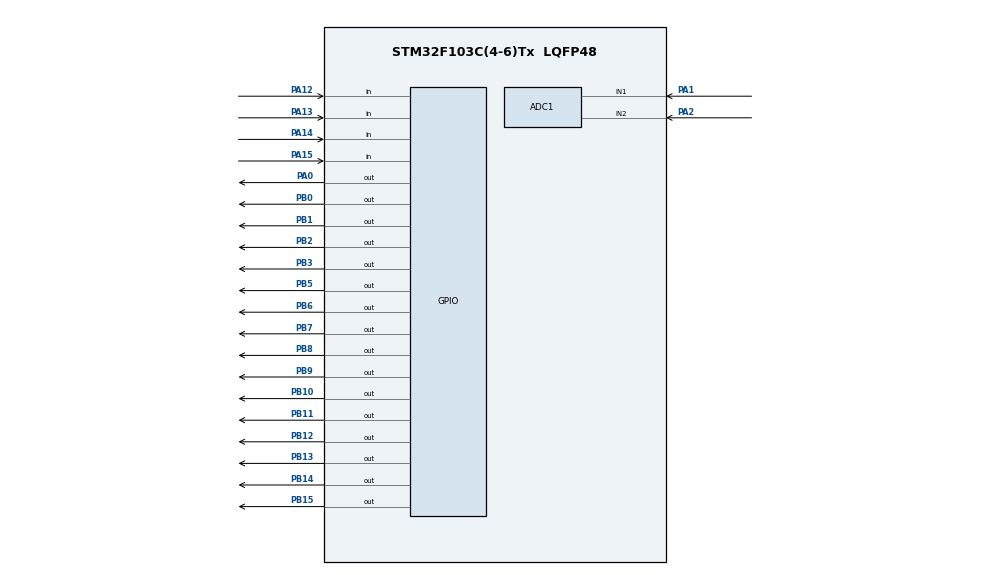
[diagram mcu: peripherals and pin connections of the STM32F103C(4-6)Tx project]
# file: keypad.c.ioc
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ADC1.Channel-0\#ChannelRegularConversion=ADC_CHANNEL_1
ADC1.Channel-1\#ChannelRegularConversion=ADC_CHANNEL_2
ADC1.ContinuousConvMode=ENABLE
ADC1.NbrOfConversion=2
ADC1.NbrOfConversionFlag=1
ADC1.Rank-0\#ChannelRegularConversion=1
ADC1.Rank-1\#ChannelRegularConversion=2
ADC1.SamplingTime-0\#ChannelRegularConversion=ADC_SAMPLETIME_1CYCLE_5
ADC1.SamplingTime-1\#ChannelRegularConversion=ADC_SAMPLETIME_1CYCLE_5
ADC1.master=1
Mcu.Family=STM32F1
Mcu.Name=STM32F103C(4-6)Tx
Mcu.Package=LQFP48
NVIC.PriorityGroup=NVIC_PRIORITYGROUP_4
PA0-WKUP.Signal=GPIO_Output
PA1.Signal=ADCx_IN1
PA12.GPIO_PuPd=GPIO_NOPULL
PA12.Signal=GPIO_Input
PA13.GPIO_PuPd=GPIO_NOPULL
PA13.Signal=GPIO_Input
PA14.GPIO_PuPd=GPIO_NOPULL
PA14.Signal=GPIO_Input
PA15.GPIO_PuPd=GPIO_NOPULL
PA15.Signal=GPIO_Input
PA2.Signal=ADCx_IN2
PB0.Signal=GPIO_Output
PB1.Signal=GPIO_Output
PB10.Signal=GPIO_Output
PB11.Signal=GPIO_Output
PB12.Signal=GPIO_Output
PB13.Signal=GPIO_Output
PB14.Signal=GPIO_Output
PB15.Signal=GPIO_Output
PB2.Signal=GPIO_Output
PB3.Signal=GPIO_Output
PB5.Signal=GPIO_Output
PB6.Signal=GPIO_Output
PB7.Signal=GPIO_Output
PB8.Signal=GPIO_Output
PB9.Signal=GPIO_Output
ProjectManager.HeapSize=0x200
ProjectManager.StackSize=0x400
ProjectManager.TargetToolchain=STM32CubeIDE
RCC.APB1Freq_Value=8000000
RCC.APB2Freq_Value=8000000
SH.ADCx_IN1.0=ADC1_IN1,IN1
SH.ADCx_IN2.0=ADC1_IN2,IN2
VP_SYS_VS_ND.Mode=No_Debug
board=custom

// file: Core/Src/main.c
/* USER CODE BEGIN Header */
/**
  ******************************************************************************
  * @file           : main.c
  * @brief          : Main program body
  ******************************************************************************
  * @attention
  *
  * Copyright (c) 2022 STMicroelectronics.
  * All rights reserved.
  *
  * This software is licensed under terms that can be found in the LICENSE file
  * in the root directory of this software component.
  * If no LICENSE file comes with this software, it is provided AS-IS.
  *
  ******************************************************************************
  */
/* USER CODE END Header */
#include "main.h"

/* USER CODE BEGIN Includes */
#include "LCD.h"
#include "keypad.h"
#include "pressao.h"
/* USER CODE END Includes */

ADC_HandleTypeDef hadc1;

/* USER CODE BEGIN PV */
void ADC_Select_CH1(void);
void ADC_Select_CH2(void);
float getTemperatura();
float getADC1_IN1();
/* USER CODE END PV */

void SystemClock_Config(void);
static void MX_GPIO_Init(void);
static void MX_ADC1_Init(void);

int main(void)
{

  /* MCU Configuration--------------------------------------------------------*/

  /* Reset of all peripherals, Initializes the Flash interface and the Systick. */
  HAL_Init();

  /* USER CODE BEGIN Init */
  char* key;
  float temp=0;
  float press;
  float adc;
  float p;
  float h0;
  float h = 2;
  float d;
  /* USER CODE END Init */

  /* Configure the system clock */
  SystemClock_Config();

  /* Initialize all configured peripherals */
  MX_GPIO_Init();
  MX_ADC1_Init();
  /* USER CODE BEGIN 2 */
  LCD_Init();
  HAL_Delay(50);
  LCD_Clear();
  /* USER CODE END 2 */

  /* Infinite loop */
  while (1)
  {

    /* USER CODE BEGIN 3 */
	  key = readKeypad();
	  LCD_SendTextPos(key, 0, 0);
	  temp = getTemperatura();
	  LCD_NumFloat(temp, 1, 0);
	  adc = getADC1_IN1();
	  press = getPressao(adc);
	  d = getDensidade(temp);
	  h0 = getAltura(press, d);
	  p = getCapacidade(h, h0);
	  LCD_NumFloat(press, 2, 0);

  }

  /* USER CODE END 3 */
}

void SystemClock_Config(void)
{
  RCC_OscInitTypeDef RCC_OscInitStruct = {0};
  RCC_ClkInitTypeDef RCC_ClkInitStruct = {0};
  RCC_PeriphCLKInitTypeDef PeriphClkInit = {0};

  /** Initializes the RCC Oscillators according to the specified parameters
  * in the RCC_OscInitTypeDef structure.
  */
  RCC_OscInitStruct.OscillatorType = RCC_OSCILLATORTYPE_HSI;
  RCC_OscInitStruct.HSIState = RCC_HSI_ON;
  RCC_OscInitStruct.HSICalibrationValue = RCC_HSICALIBRATION_DEFAULT;
  RCC_OscInitStruct.PLL.PLLState = RCC_PLL_NONE;
  if (HAL_RCC_OscConfig(&RCC_OscInitStruct) != HAL_OK)
  {
    Error_Handler();
  }
  /** Initializes the CPU, AHB and APB buses clocks
  */
  RCC_ClkInitStruct.ClockType = RCC_CLOCKTYPE_HCLK|RCC_CLOCKTYPE_SYSCLK
                              |RCC_CLOCKTYPE_PCLK1|RCC_CLOCKTYPE_PCLK2;
  RCC_ClkInitStruct.SYSCLKSource = RCC_SYSCLKSOURCE_HSI;
  RCC_ClkInitStruct.AHBCLKDivider = RCC_SYSCLK_DIV1;
  RCC_ClkInitStruct.APB1CLKDivider = RCC_HCLK_DIV1;
  RCC_ClkInitStruct.APB2CLKDivider = RCC_HCLK_DIV1;

  if (HAL_RCC_ClockConfig(&RCC_ClkInitStruct, FLASH_LATENCY_0) != HAL_OK)
  {
    Error_Handler();
  }
  PeriphClkInit.PeriphClockSelection = RCC_PERIPHCLK_ADC;
  PeriphClkInit.AdcClockSelection = RCC_ADCPCLK2_DIV2;
  if (HAL_RCCEx_PeriphCLKConfig(&PeriphClkInit) != HAL_OK)
  {
    Error_Handler();
  }
}

static void MX_ADC1_Init(void)
{

  /** Common config
  */
  hadc1.Instance = ADC1;
  hadc1.Init.ScanConvMode = ADC_SCAN_ENABLE;
  hadc1.Init.ContinuousConvMode = ENABLE;
  hadc1.Init.DiscontinuousConvMode = DISABLE;
  hadc1.Init.ExternalTrigConv = ADC_SOFTWARE_START;
  hadc1.Init.DataAlign = ADC_DATAALIGN_RIGHT;
  hadc1.Init.NbrOfConversion = 2;
  if (HAL_ADC_Init(&hadc1) != HAL_OK)
  {
    Error_Handler();
  }
  /** Configure Regular Channel
  */

  /*sConfig.Channel = ADC_CHANNEL_1;
  sConfig.Rank = ADC_REGULAR_RANK_1;
  sConfig.SamplingTime = ADC_SAMPLETIME_1CYCLE_5;
  if (HAL_ADC_ConfigChannel(&hadc1, &sConfig) != HAL_OK)
  {
    Error_Handler();
  }*/
  /** Configure Regular Channel
  */
  /*sConfig.Channel = ADC_CHANNEL_2;
  sConfig.Rank = ADC_REGULAR_RANK_2;
  if (HAL_ADC_ConfigChannel(&hadc1, &sConfig) != HAL_OK)
  {
    Error_Handler();
  }*/

}

static void MX_GPIO_Init(void)
{
  GPIO_InitTypeDef GPIO_InitStruct = {0};

  /* GPIO Ports Clock Enable */
  __HAL_RCC_GPIOA_CLK_ENABLE();
  __HAL_RCC_GPIOB_CLK_ENABLE();

  /*Configure GPIO pin Output Level */
  HAL_GPIO_WritePin(GPIOA, GPIO_PIN_0, GPIO_PIN_RESET);

  /*Configure GPIO pin Output Level */
  HAL_GPIO_WritePin(GPIOB, GPIO_PIN_0|GPIO_PIN_1|GPIO_PIN_2|GPIO_PIN_10
                          |GPIO_PIN_11|GPIO_PIN_12|GPIO_PIN_13|GPIO_PIN_14
                          |GPIO_PIN_15|GPIO_PIN_3|GPIO_PIN_5|GPIO_PIN_6
                          |GPIO_PIN_7|GPIO_PIN_8|GPIO_PIN_9, GPIO_PIN_RESET);

  /*Configure GPIO pin : PA0 */
  GPIO_InitStruct.Pin = GPIO_PIN_0;
  GPIO_InitStruct.Mode = GPIO_MODE_OUTPUT_PP;
  GPIO_InitStruct.Pull = GPIO_NOPULL;
  GPIO_InitStruct.Speed = GPIO_SPEED_FREQ_LOW;
  HAL_GPIO_Init(GPIOA, &GPIO_InitStruct);

  /*Configure GPIO pins : PB0 PB1 PB2 PB10
                           PB11 PB12 PB13 PB14
                           PB15 PB3 PB5 PB6
                           PB7 PB8 PB9 */
  GPIO_InitStruct.Pin = GPIO_PIN_0|GPIO_PIN_1|GPIO_PIN_2|GPIO_PIN_10
                          |GPIO_PIN_11|GPIO_PIN_12|GPIO_PIN_13|GPIO_PIN_14
                          |GPIO_PIN_15|GPIO_PIN_3|GPIO_PIN_5|GPIO_PIN_6
                          |GPIO_PIN_7|GPIO_PIN_8|GPIO_PIN_9;
  GPIO_InitStruct.Mode = GPIO_MODE_OUTPUT_PP;
  GPIO_InitStruct.Pull = GPIO_NOPULL;
  GPIO_InitStruct.Speed = GPIO_SPEED_FREQ_LOW;
  HAL_GPIO_Init(GPIOB, &GPIO_InitStruct);

  /*Configure GPIO pins : PA12 PA13 PA14 PA15 */
  GPIO_InitStruct.Pin = GPIO_PIN_12|GPIO_PIN_13|GPIO_PIN_14|GPIO_PIN_15;
  GPIO_InitStruct.Mode = GPIO_MODE_INPUT;
  GPIO_InitStruct.Pull = GPIO_NOPULL;
  HAL_GPIO_Init(GPIOA, &GPIO_InitStruct);

}

/* USER CODE BEGIN 4 */
void ADC_Select_CH1(void){
	ADC_ChannelConfTypeDef sConfig = {0};
	sConfig.Channel = ADC_CHANNEL_1;
	sConfig.Rank = ADC_REGULAR_RANK_1;
	sConfig.SamplingTime = ADC_SAMPLETIME_1CYCLE_5;
	if (HAL_ADC_ConfigChannel(&hadc1, &sConfig) != HAL_OK)
	{
	  Error_Handler();
	}
}

void ADC_Select_CH2(void){
	ADC_ChannelConfTypeDef sConfig = {0};
	sConfig.Channel = ADC_CHANNEL_2;
	sConfig.Rank = ADC_REGULAR_RANK_1;
	if (HAL_ADC_ConfigChannel(&hadc1, &sConfig) != HAL_OK)
	{
	  Error_Handler();
	}
}

/*
 * @author Juan Porto
 * @brief Calcula a temperatura de acordo com o valor lido pelo ADC
 * @retval temperatura em graus celsius
 */

float getTemperatura(){
	float temp;
	uint16_t adcval;
	int t;
	ADC_Select_CH2();
	HAL_ADC_Start(&hadc1);
	if((HAL_ADC_PollForConversion(&hadc1, 1000000)) == HAL_OK){
	adcval = HAL_ADC_GetValue(&hadc1);
	t = ((adcval)*3.3);
	temp = (int)t/26.8;
	}
	HAL_ADC_Stop(&hadc1);
	return temp;
}

float getADC1_IN1(){
	float x;
	ADC_Select_CH1();
	HAL_ADC_Start(&hadc1);
	HAL_ADC_PollForConversion(&hadc1, HAL_MAX_DELAY);
	x = HAL_ADC_GetValue(&hadc1);
	HAL_ADC_Stop(&hadc1);
	return x;
}
/* USER CODE END 4 */

void Error_Handler(void)
{
  /* USER CODE BEGIN Error_Handler_Debug */
  /* User can add his own implementation to report the HAL error return state */
  __disable_irq();
  while (1)
  {
  }.
  /* USER CODE END Error_Handler_Debug */
}
